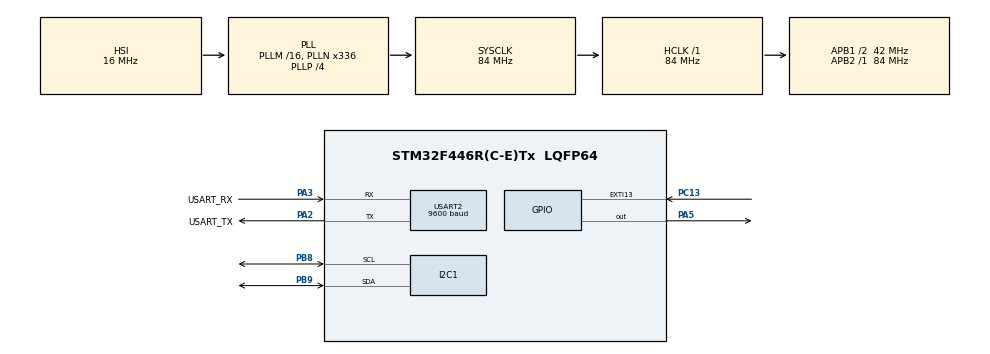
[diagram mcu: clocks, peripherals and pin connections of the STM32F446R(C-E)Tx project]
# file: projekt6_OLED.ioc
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Mcu.Family=STM32F4
Mcu.Name=STM32F446R(C-E)Tx
Mcu.Package=LQFP64
NUCLEO-F446RE.BUTTON=1
NUCLEO-F446RE.LD1=true
NVIC.EXTI15_10_IRQn=true\:0\:0\:false\:false\:true\:false\:true\:true
NVIC.PriorityGroup=NVIC_PRIORITYGROUP_0
PA13.GPIO_Label=TMS
PA13.Signal=SYS_JTMS-SWDIO
PA14.GPIO_Label=TCK
PA14.Signal=SYS_JTCK-SWCLK
PA2.GPIO_Label=USART_TX
PA2.Mode=Asynchronous
PA2.Signal=USART2_TX
PA3.GPIO_Label=USART_RX
PA3.Mode=Asynchronous
PA3.Signal=USART2_RX
PA5.Signal=GPIO_Output
PB3.GPIO_Label=SWO
PB3.Signal=SYS_JTDO-SWO
PB8.Mode=I2C
PB8.Signal=I2C1_SCL
PB9.Mode=I2C
PB9.Signal=I2C1_SDA
PC13.Signal=GPXTI13
PC14-OSC32_IN.Signal=RCC_OSC32_IN
PC15-OSC32_OUT.Signal=RCC_OSC32_OUT
PH0-OSC_IN.Signal=RCC_OSC_IN
PH1-OSC_OUT.Signal=RCC_OSC_OUT
ProjectManager.HeapSize=0x200
ProjectManager.StackSize=0x400
ProjectManager.TargetToolchain=STM32CubeIDE
RCC.AHBFreq_Value=84000000
RCC.APB1CLKDivider=RCC_HCLK_DIV2
RCC.APB1Freq_Value=42000000
RCC.APB1TimFreq_Value=84000000
RCC.APB2Freq_Value=84000000
RCC.APB2TimFreq_Value=84000000
RCC.CortexFreq_Value=84000000
RCC.FLatency-AdvancedSettings=FLASH_LATENCY_2
RCC.HCLKFreq_Value=84000000
RCC.HSE_VALUE=8000000
RCC.HSI_VALUE=16000000
RCC.LSE_VALUE=32768
RCC.PLLN=336
RCC.PLLP=RCC_PLLP_DIV4
RCC.SYSCLKFreq_VALUE=84000000
RCC.SYSCLKSource=RCC_SYSCLKSOURCE_PLLCLK
RCC.USBFreq_Value=168000000
RCC.VCOOutputFreq_Value=336000000
USART2.BaudRate=9600
USART2.VirtualMode=VM_ASYNC
VP_NUCLEO-F446RE_VS_BSP_COMMON.Mode=COMMON
board=NUCLEO-F446RE

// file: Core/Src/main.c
/* USER CODE BEGIN Header */
/**
  ******************************************************************************
  * @file           : main.c
  * @brief          : Main program body
  *
  * I2C OLED zaslon (128x64, kontroler SH1106) na STM32F446RE (Nucleo-F446RE)
  *
  * Program najprej s skeniranjem I2C poišče naprave na vodilu (rezultat se
  * izpiše prek UART), nato inicializira zaslon in na njem prikaže napis
  * "Hello OLED" ter števec sekund od zagona.
  *
  * Ožičenje zaslona:
  *   GND -> GND,  VCC -> 3V3,  SCL -> PB8 (D15),  SDA -> PB9 (D14)
  *
  * Delovanje: v pomnilniku (oled_buf) se sestavi slika, funkcija oled_update()
  * jo nato pošlje zaslonu po I2C. Števec se osvežuje brez blokirajočega
  * čakanja (HAL_GetTick), vsako sekundo.
  *
  * UART (USART2, 9600 baud) se uporablja samo za izpis rezultata skeniranja.
  ******************************************************************************
  * @attention
  *
  * Copyright (c) 2026 STMicroelectronics.
  * All rights reserved.
  *
  * This software is licensed under terms that can be found in the LICENSE file
  * in the root directory of this software component.
  * If no LICENSE file comes with this software, it is provided AS-IS.
  *
  ******************************************************************************
  */
/* USER CODE END Header */
#include "main.h"

/* USER CODE BEGIN Includes */
#include <stdio.h>		// snprintf: sestavljanje besedila za izpis
#include <string.h>		// memset, strlen
#include "font5x7.h"	// pisava 5x7 pikslov (ASCII 32 do 126)
/* USER CODE END Includes */

I2C_HandleTypeDef hi2c1;

UART_HandleTypeDef huart2;

void SystemClock_Config(void);
static void MX_GPIO_Init(void);
static void MX_I2C1_Init(void);
static void MX_USART2_UART_Init(void);

/* USER CODE BEGIN 0 */

#define OLED_ADDR (0x3C << 1)	// I2C naslov zaslona (7-bitni 0x3C), HAL ga potrebuje pomaknjenega za 1 bit

uint8_t oled_buf[1024];		// framebuffer: slika zaslona v RAM-u (128 stolpcev x 8 strani po 8 pikslov)
uint32_t oled_start = 0;	// trenutek (HAL_GetTick) zadnjega osveževanja zaslona
char oled_txt[22];			// besedilo za izpis (največ 21 znakov v vrstici)

/**
  * @brief  Pošlje en ukaz zaslonu.
  * @param  cmd: ukazni bajt kontrolerja
  * @note   Kontrolni bajt 0x00 pomeni, da je naslednji bajt ukaz (0x40 = podatki za sliko).
  */
void oled_cmd(uint8_t cmd){
    HAL_I2C_Mem_Write(&hi2c1, OLED_ADDR, 0x00, I2C_MEMADD_SIZE_8BIT, &cmd, 1, 100);
}

/**
  * @brief  Pošlje framebuffer zaslonu SH1106, stran po stran.
  * @note   SH1106 ne podpira vodoravnega naslavljanja, zato se vsaka od 8 strani
  *         (po 128 bajtov) pošlje posebej. SH1106 ima 132 stolpcev v pomnilniku,
  *         prikazanih je 128, zato je začetni stolpec 2.
  */
void oled_update(void){
    for(uint8_t page = 0; page < 8; page++){
        oled_cmd(0xB0 + page);		// izberi stran 0 do 7
        oled_cmd(0x02);				// začetni stolpec, nižji del (zamik 2)
        oled_cmd(0x10);				// začetni stolpec, višji del
        HAL_I2C_Mem_Write(&hi2c1, OLED_ADDR, 0x40, I2C_MEMADD_SIZE_8BIT,
                          &oled_buf[page * 128], 128, 100);		// 0x40 = sledijo podatki za sliko
    }
}

/**
  * @brief  Prižge ali ugasne en piksel v framebufferju.
  * @param  x: stolpec (0 do 127), y: vrstica (0 do 63), on: 1 = prižgan, 0 = ugasnjen
  * @note   Zaslonu piksla ne pošlje, za to je potreben oled_update().
  */
void oled_pixel(uint8_t x, uint8_t y, uint8_t on){
    if(x > 127 || y > 63){
        return;		// zunaj zaslona: ne pišemo v pomnilnik
    }

    uint16_t indeks = x + (y / 8) * 128;	// kateri bajt v bufferju
    uint8_t bit = y % 8;					// kateri bit v tem bajtu

    if(on){
        oled_buf[indeks] |= (1 << bit);		// prižgi piksel
    }
    else{
        oled_buf[indeks] &= ~(1 << bit);	// ugasni piksel
    }
}

/**
  * @brief  Izriše en znak (5x7 pikslov) v framebuffer.
  * @param  x, y: položaj zgornjega levega kota znaka, c: znak (ASCII 32 do 126)
  */
void oled_putc(uint8_t x, uint8_t y, char c){
    if(c < 32 || c > 126){
        c = '?';		// znak izven tabele
    }
    for(uint8_t col = 0; col < 5; col++){
        uint8_t stolpec = font5x7[c - 32][col];		// bajt = en stolpec znaka, najnižji bit je vrh
        for(uint8_t row = 0; row < 8; row++){
            oled_pixel(x + col, y + row, (stolpec >> row) & 1);
        }
    }
}

/**
  * @brief  Izpiše besedilo v framebuffer. Vsak znak zavzame 6 pikslov (5 + 1 presledek).
  * @param  x, y: položaj prvega znaka, s: besedilo (zaključeno z '\0')
  */
void oled_print(uint8_t x, uint8_t y, const char *s){
    while(*s){
        if(x > 122){
            break;		// ni več prostora v vrstici
        }
        oled_putc(x, y, *s);
        x += 6;
        s++;
    }
}
/* USER CODE END 0 */

int main(void)
{

  /* MCU Configuration--------------------------------------------------------*/

  /* Reset of all peripherals, Initializes the Flash interface and the Systick. */
  HAL_Init();

  /* Configure the system clock */
  SystemClock_Config();

  /* Initialize all configured peripherals */
  MX_GPIO_Init();
  MX_I2C1_Init();
  MX_USART2_UART_Init();
  /* USER CODE BEGIN 2 */
  char msg[40];		// vmesno besedilo za izpis prek UART

  /* 1. I2C skeniranje: preveri vse naslove 1 do 127 in izpiše tiste, ki odgovorijo.
   *    Zaslon se mora javiti kot 0x3C. */
  HAL_UART_Transmit(&huart2, (uint8_t *)"I2C skeniranje...\r\n", 19, 100);

  for(uint8_t addr = 1; addr < 128; addr++){
      /* HAL potrebuje 7-bitni naslov, pomaknjen za 1 bit v levo.
       * 1 = število poskusov, 10 = timeout v ms. */
      if(HAL_I2C_IsDeviceReady(&hi2c1, addr << 1, 1, 10) == HAL_OK){
          snprintf(msg, sizeof(msg), "Najden: 0x%02X\r\n", addr);
          HAL_UART_Transmit(&huart2, (uint8_t *)msg, strlen(msg), 100);
      }
  }

  HAL_UART_Transmit(&huart2, (uint8_t *)"Konec\r\n", 7, 100);

  /* 2. Inicializacija zaslona. Brez nje zaslon ne prikaže slike.
   *    Uporabljeno je običajno zaporedje za SSD1306, ki ga SH1106 sprejme. */
  uint8_t init[] = {
      0xAE,			// zaslon ugasnjen
      0xD5, 0x80,		// frekvenca ure zaslona
      0xA8, 0x3F,		// višina: 64 vrstic
      0xD3, 0x00,		// brez zamika slike
      0x40,			// začetna vrstica 0
      0x8D, 0x14,		// vklop notranje črpalke napetosti (nujno za OLED)
      0x20, 0x00,		// vodoravno naslavljanje (SH1106 ga ne uporablja, slike pošiljamo po straneh)
      0xA1, 0xC8,		// obračanje slike (levo/desno, zgoraj/spodaj)
      0xDA, 0x12,		// razporeditev pinov kontroler-zaslon
      0x81, 0xCF,		// kontrast
      0xD9, 0xF1,		// čas predpolnitve
      0xDB, 0x40,		// nastavitev napetosti VCOMH
      0xA4,			// prikaži vsebino pomnilnika
      0xA6,			// normalna (ne obrnjena) slika
      0xAF			// zaslon prižgan
  };

  for(uint8_t k = 0; k < sizeof(init); k++){
      oled_cmd(init[k]);
  }

  /* 3. Prvi izpis: najprej počisti buffer, nato nariši besedilo in ga pošlji zaslonu.
   *    To mora biti po inicializaciji, sicer se slika izgubi. */
  memset(oled_buf, 0, sizeof(oled_buf));
  oled_print(0, 0, "Hello OLED");
  oled_update();
  /* USER CODE END 2 */

  /* Initialize leds */
  BSP_LED_Init(LED2);

  /* Initialize USER push-button, will be used to trigger an interrupt each time it's pressed.*/
  BSP_PB_Init(BUTTON_USER, BUTTON_MODE_EXTI);

  /* Infinite loop */
  while (1)
  {

    /* USER CODE BEGIN 3 */

    /* Števec: slika se osveži vsako sekundo.
     * Čas se meri z HAL_GetTick(), zato program med čakanjem ne stoji. */
    if(HAL_GetTick() - oled_start >= 1000){
        oled_start = HAL_GetTick();
        snprintf(oled_txt, sizeof(oled_txt), "Cas: %lu s", HAL_GetTick() / 1000);
        memset(oled_buf, 0, sizeof(oled_buf));		// počisti staro sliko
        oled_print(0, 0, "Hello OLED");
        oled_print(0, 16, oled_txt);				// druga vrstica (y = 16)
        oled_update();								// pošlji sliko zaslonu
    }
  }
  /* USER CODE END 3 */
}

void SystemClock_Config(void)
{
  RCC_OscInitTypeDef RCC_OscInitStruct = {0};
  RCC_ClkInitTypeDef RCC_ClkInitStruct = {0};

  /** Configure the main internal regulator output voltage
  */
  __HAL_RCC_PWR_CLK_ENABLE();
  __HAL_PWR_VOLTAGESCALING_CONFIG(PWR_REGULATOR_VOLTAGE_SCALE3);

  /** Initializes the RCC Oscillators according to the specified parameters
  * in the RCC_OscInitTypeDef structure.
  */
  RCC_OscInitStruct.OscillatorType = RCC_OSCILLATORTYPE_HSI;
  RCC_OscInitStruct.HSIState = RCC_HSI_ON;
  RCC_OscInitStruct.HSICalibrationValue = RCC_HSICALIBRATION_DEFAULT;
  RCC_OscInitStruct.PLL.PLLState = RCC_PLL_ON;
  RCC_OscInitStruct.PLL.PLLSource = RCC_PLLSOURCE_HSI;
  RCC_OscInitStruct.PLL.PLLM = 16;
  RCC_OscInitStruct.PLL.PLLN = 336;
  RCC_OscInitStruct.PLL.PLLP = RCC_PLLP_DIV4;
  RCC_OscInitStruct.PLL.PLLQ = 2;
  RCC_OscInitStruct.PLL.PLLR = 2;
  if (HAL_RCC_OscConfig(&RCC_OscInitStruct) != HAL_OK)
  {
    Error_Handler();
  }

  /** Initializes the CPU, AHB and APB buses clocks
  */
  RCC_ClkInitStruct.ClockType = RCC_CLOCKTYPE_HCLK|RCC_CLOCKTYPE_SYSCLK
                              |RCC_CLOCKTYPE_PCLK1|RCC_CLOCKTYPE_PCLK2;
  RCC_ClkInitStruct.SYSCLKSource = RCC_SYSCLKSOURCE_PLLCLK;
  RCC_ClkInitStruct.AHBCLKDivider = RCC_SYSCLK_DIV1;
  RCC_ClkInitStruct.APB1CLKDivider = RCC_HCLK_DIV2;
  RCC_ClkInitStruct.APB2CLKDivider = RCC_HCLK_DIV1;

  if (HAL_RCC_ClockConfig(&RCC_ClkInitStruct, FLASH_LATENCY_2) != HAL_OK)
  {
    Error_Handler();
  }
}

static void MX_I2C1_Init(void)
{

  hi2c1.Instance = I2C1;
  hi2c1.Init.ClockSpeed = 100000;
  hi2c1.Init.DutyCycle = I2C_DUTYCYCLE_2;
  hi2c1.Init.OwnAddress1 = 0;
  hi2c1.Init.AddressingMode = I2C_ADDRESSINGMODE_7BIT;
  hi2c1.Init.DualAddressMode = I2C_DUALADDRESS_DISABLE;
  hi2c1.Init.OwnAddress2 = 0;
  hi2c1.Init.GeneralCallMode = I2C_GENERALCALL_DISABLE;
  hi2c1.Init.NoStretchMode = I2C_NOSTRETCH_DISABLE;
  if (HAL_I2C_Init(&hi2c1) != HAL_OK)
  {
    Error_Handler();
  }

}

static void MX_USART2_UART_Init(void)
{

  huart2.Instance = USART2;
  huart2.Init.BaudRate = 9600;
  huart2.Init.WordLength = UART_WORDLENGTH_8B;
  huart2.Init.StopBits = UART_STOPBITS_1;
  huart2.Init.Parity = UART_PARITY_NONE;
  huart2.Init.Mode = UART_MODE_TX_RX;
  huart2.Init.HwFlowCtl = UART_HWCONTROL_NONE;
  huart2.Init.OverSampling = UART_OVERSAMPLING_16;
  if (HAL_UART_Init(&huart2) != HAL_OK)
  {
    Error_Handler();
  }

}

static void MX_GPIO_Init(void)
{

  /* GPIO Ports Clock Enable */
  __HAL_RCC_GPIOC_CLK_ENABLE();
  __HAL_RCC_GPIOH_CLK_ENABLE();
  __HAL_RCC_GPIOA_CLK_ENABLE();
  __HAL_RCC_GPIOB_CLK_ENABLE();

}

void Error_Handler(void)
{
  __disable_irq();
  while (1)
  {
  }
}
